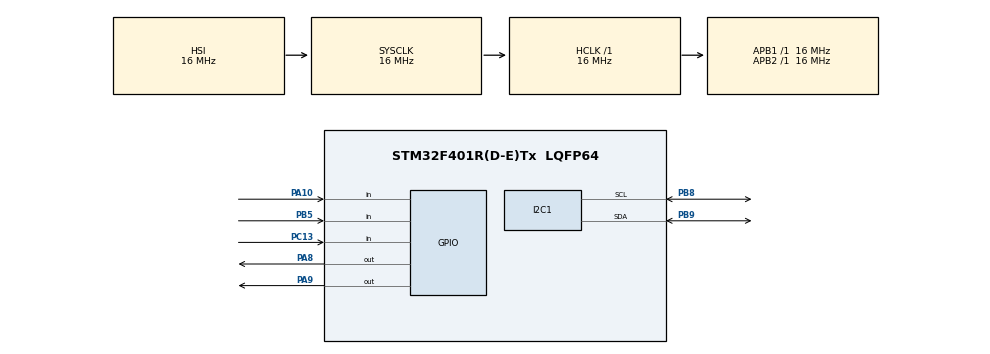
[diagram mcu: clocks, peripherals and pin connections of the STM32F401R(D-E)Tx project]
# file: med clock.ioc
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Mcu.Family=STM32F4
Mcu.Name=STM32F401R(D-E)Tx
Mcu.Package=LQFP64
NVIC.PriorityGroup=NVIC_PRIORITYGROUP_4
PA10.Signal=GPIO_Input
PA13.Mode=Serial_Wire
PA13.Signal=SYS_JTMS-SWDIO
PA14.Mode=Serial_Wire
PA14.Signal=SYS_JTCK-SWCLK
PA8.Signal=GPIO_Output
PA9.Signal=GPIO_Output
PB5.Signal=GPIO_Input
PB8.Mode=I2C
PB8.Signal=I2C1_SCL
PB9.Mode=I2C
PB9.Signal=I2C1_SDA
PC13-ANTI_TAMP.Signal=GPIO_Input
PC14-OSC32_IN.Mode=LSE-External-Oscillator
PC14-OSC32_IN.Signal=RCC_OSC32_IN
PC15-OSC32_OUT.Mode=LSE-External-Oscillator
PC15-OSC32_OUT.Signal=RCC_OSC32_OUT
PH0\ -\ OSC_IN.Mode=HSE-External-Oscillator
PH0\ -\ OSC_IN.Signal=RCC_OSC_IN
PH1\ -\ OSC_OUT.Mode=HSE-External-Oscillator
PH1\ -\ OSC_OUT.Signal=RCC_OSC_OUT
ProjectManager.HeapSize=0x200
ProjectManager.StackSize=0x400
ProjectManager.TargetToolchain=STM32CubeIDE
RCC.AHBFreq_Value=16000000
RCC.APB1Freq_Value=16000000
RCC.APB1TimFreq_Value=16000000
RCC.APB2Freq_Value=16000000
RCC.APB2TimFreq_Value=16000000
RCC.CortexFreq_Value=16000000
RCC.HCLKFreq_Value=16000000
RCC.HSE_VALUE=25000000
RCC.HSI_VALUE=16000000
RCC.SYSCLKFreq_VALUE=16000000
RCC.VCOOutputFreq_Value=192000000
RTC.HourFormat=RTC_HOURFORMAT_24
VP_RTC_VS_RTC_Activate.Mode=RTC_Enabled
VP_RTC_VS_RTC_Calendar.Mode=RTC_Calendar
board=custom

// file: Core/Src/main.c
/* USER CODE BEGIN Header */
/**
  ******************************************************************************
  * @file           : main.c
  * @brief          : Main program body
  ******************************************************************************
  * @attention
  *
  * Copyright (c) 2023 STMicroelectronics.
  * All rights reserved.
  *
  * This software is licensed under terms that can be found in the LICENSE file
  * in the root directory of this software component.
  * If no LICENSE file comes with this software, it is provided AS-IS.
  *
  ******************************************************************************
  */
/* USER CODE END Header */
#include "main.h"

/* USER CODE BEGIN Includes */
#include "stm32f4xx_hal.h"
#include "liquidcrystal_i2c.h"
#include <stdbool.h>
/* USER CODE END Includes */

I2C_HandleTypeDef hi2c1;

RTC_HandleTypeDef hrtc;

void SystemClock_Config(void);
static void MX_GPIO_Init(void);
static void MX_I2C1_Init(void);
static void MX_RTC_Init(void);

/* USER CODE BEGIN 0 */

RTC_TimeTypeDef Time = {0};
void SetTime(uint8_t hours, uint8_t minutes);
void PlaySound(bool isHigh, bool isOn);
char TimeInChar[12] = {""};
bool SelectB;
bool SelectD;
bool SelectU;
/* USER CODE END 0 */

int main(void)
{

  /* MCU Configuration--------------------------------------------------------*/

  /* Reset of all peripherals, Initializes the Flash interface and the Systick. */
  HAL_Init();

  /* Configure the system clock */
  SystemClock_Config();

  /* Initialize all configured peripherals */
  MX_GPIO_Init();
  MX_I2C1_Init();
  MX_RTC_Init();
  /* USER CODE BEGIN 2 */
  RunSetUp();
  bool SelectB = false;
  bool SelectD = false;
  bool SelectU = false;
  /* USER CODE END 2 */

  /* Infinite loop */
  /* USER CODE BEGIN WHILE */
  while (1)
  {
	  RTC_DateTypeDef Date = {0};
	  if (HAL_RTC_GetTime(&hrtc, &Time, RTC_FORMAT_BIN) != HAL_OK)
	  {
	  	  Error_Handler();
	  }
	  if (HAL_RTC_GetDate(&hrtc, &Date, RTC_FORMAT_BIN) != HAL_OK)
	  {
	  	  Error_Handler();
	  }
	  sprintf(TimeInChar, "%02d:%02d", Time.Hours, Time.Minutes);
	  RunLoop();
	  HAL_Delay(167);
    /* USER CODE END WHILE */

  }
}

void SystemClock_Config(void)
{
  RCC_OscInitTypeDef RCC_OscInitStruct = {0};
  RCC_ClkInitTypeDef RCC_ClkInitStruct = {0};

  /** Configure the main internal regulator output voltage
  */
  __HAL_RCC_PWR_CLK_ENABLE();
  __HAL_PWR_VOLTAGESCALING_CONFIG(PWR_REGULATOR_VOLTAGE_SCALE2);

  /** Initializes the RCC Oscillators according to the specified parameters
  * in the RCC_OscInitTypeDef structure.
  */
  RCC_OscInitStruct.OscillatorType = RCC_OSCILLATORTYPE_HSI|RCC_OSCILLATORTYPE_LSI;
  RCC_OscInitStruct.HSIState = RCC_HSI_ON;
  RCC_OscInitStruct.HSICalibrationValue = RCC_HSICALIBRATION_DEFAULT;
  RCC_OscInitStruct.LSIState = RCC_LSI_ON;
  RCC_OscInitStruct.PLL.PLLState = RCC_PLL_NONE;
  if (HAL_RCC_OscConfig(&RCC_OscInitStruct) != HAL_OK)
  {
    Error_Handler();
  }

  /** Initializes the CPU, AHB and APB buses clocks
  */
  RCC_ClkInitStruct.ClockType = RCC_CLOCKTYPE_HCLK|RCC_CLOCKTYPE_SYSCLK
                              |RCC_CLOCKTYPE_PCLK1|RCC_CLOCKTYPE_PCLK2;
  RCC_ClkInitStruct.SYSCLKSource = RCC_SYSCLKSOURCE_HSI;
  RCC_ClkInitStruct.AHBCLKDivider = RCC_SYSCLK_DIV1;
  RCC_ClkInitStruct.APB1CLKDivider = RCC_HCLK_DIV1;
  RCC_ClkInitStruct.APB2CLKDivider = RCC_HCLK_DIV1;

  if (HAL_RCC_ClockConfig(&RCC_ClkInitStruct, FLASH_LATENCY_0) != HAL_OK)
  {
    Error_Handler();
  }
}

static void MX_I2C1_Init(void)
{

  hi2c1.Instance = I2C1;
  hi2c1.Init.ClockSpeed = 100000;
  hi2c1.Init.DutyCycle = I2C_DUTYCYCLE_2;
  hi2c1.Init.OwnAddress1 = 0;
  hi2c1.Init.AddressingMode = I2C_ADDRESSINGMODE_7BIT;
  hi2c1.Init.DualAddressMode = I2C_DUALADDRESS_DISABLE;
  hi2c1.Init.OwnAddress2 = 0;
  hi2c1.Init.GeneralCallMode = I2C_GENERALCALL_DISABLE;
  hi2c1.Init.NoStretchMode = I2C_NOSTRETCH_DISABLE;
  if (HAL_I2C_Init(&hi2c1) != HAL_OK)
  {
    Error_Handler();
  }

}

static void MX_RTC_Init(void)
{

  RTC_TimeTypeDef sTime = {0};
  RTC_DateTypeDef sDate = {0};

  /** Initialize RTC Only
  */
  hrtc.Instance = RTC;
  hrtc.Init.HourFormat = RTC_HOURFORMAT_24;
  hrtc.Init.AsynchPrediv = 127;
  hrtc.Init.SynchPrediv = 255;
  hrtc.Init.OutPut = RTC_OUTPUT_DISABLE;
  hrtc.Init.OutPutPolarity = RTC_OUTPUT_POLARITY_HIGH;
  hrtc.Init.OutPutType = RTC_OUTPUT_TYPE_OPENDRAIN;
  if (HAL_RTC_Init(&hrtc) != HAL_OK)
  {
    Error_Handler();
  }

  /** Initialize RTC and set the Time and Date
  */

  // Set all time to 0
  sTime.Hours = 0x0;
  sTime.Minutes = 0x0;
  sTime.Seconds = 0x0;
  sTime.DayLightSaving = RTC_DAYLIGHTSAVING_NONE;
  sTime.StoreOperation = RTC_STOREOPERATION_RESET;
  if (HAL_RTC_SetTime(&hrtc, &sTime, RTC_FORMAT_BCD) != HAL_OK)
  {
    Error_Handler();
  }

  // set up day and month
  sDate.WeekDay = RTC_WEEKDAY_MONDAY;
  sDate.Month = RTC_MONTH_JANUARY;
  sDate.Date = 0x1;
  sDate.Year = 0x0;

  if (HAL_RTC_SetDate(&hrtc, &sDate, RTC_FORMAT_BCD) != HAL_OK)
  {
    Error_Handler();
  }

}

static void MX_GPIO_Init(void)
{
  GPIO_InitTypeDef GPIO_InitStruct = {0};

  /* GPIO Ports Clock Enable */
  __HAL_RCC_GPIOC_CLK_ENABLE();
  __HAL_RCC_GPIOH_CLK_ENABLE();
  __HAL_RCC_GPIOA_CLK_ENABLE();
  __HAL_RCC_GPIOB_CLK_ENABLE();

  /*Configure GPIO pin Output Level */
  HAL_GPIO_WritePin(GPIOA, GPIO_PIN_8|GPIO_PIN_9, GPIO_PIN_RESET);

  /*Configure GPIO pin : PC13 */
  GPIO_InitStruct.Pin = GPIO_PIN_13;
  GPIO_InitStruct.Mode = GPIO_MODE_INPUT;
  GPIO_InitStruct.Pull = GPIO_NOPULL;
  HAL_GPIO_Init(GPIOC, &GPIO_InitStruct);

  /*Configure GPIO pins : PA8 PA9 */
  GPIO_InitStruct.Pin = GPIO_PIN_8|GPIO_PIN_9;
  GPIO_InitStruct.Mode = GPIO_MODE_OUTPUT_PP;
  GPIO_InitStruct.Pull = GPIO_NOPULL;
  GPIO_InitStruct.Speed = GPIO_SPEED_FREQ_LOW;
  HAL_GPIO_Init(GPIOA, &GPIO_InitStruct);

  /*Configure GPIO pin : PA10 */
  GPIO_InitStruct.Pin = GPIO_PIN_10;
  GPIO_InitStruct.Mode = GPIO_MODE_INPUT;
  GPIO_InitStruct.Pull = GPIO_NOPULL;
  HAL_GPIO_Init(GPIOA, &GPIO_InitStruct);

  /*Configure GPIO pin : PB5 */
  GPIO_InitStruct.Pin = GPIO_PIN_5;
  GPIO_InitStruct.Mode = GPIO_MODE_INPUT;
  GPIO_InitStruct.Pull = GPIO_NOPULL;
  HAL_GPIO_Init(GPIOB, &GPIO_InitStruct);

}

/* USER CODE BEGIN 4 */

/**
 * Converts an integer to its hexadecimal representation.
 *
 * @param num The integer to be converted.
 * @return The hexadecimal representation of the input integer.
 */
uint8_t IntToHex(uint8_t num){
	int b = num;

	if (b <= 9) return b;

	int hexd = b - (b/16)*6;

	int leftover = b - (b/16)*16 + 1;

	int zone = 10;
	if (leftover > 10) {
	    zone = 16;
	}
	int leftL = zone - (leftover);

	int dis = 0;
	if (leftover > 10) {
	    dis = b - hexd + (6 - leftL);
	}
	else {
	    dis = b - hexd - leftL;
	}

	int leftR = dis - (dis/10)*10;

	int amount6 = 0;
	if (dis%10 != 0) {
	    amount6 = (dis/10)*6;
	}
	else {
	    amount6 = (dis/10 - 1)*6;
	}
	if (zone == 10) {
	    amount6 += 6;
	}

	int amount10 = (dis/10)*10;

	return b + leftL + amount6 + amount10 + leftR;
}

void SetTime(uint8_t hours, uint8_t minutes) {
	  RTC_TimeTypeDef sTime = {0};
	  RTC_DateTypeDef sDate = {0};

	  sTime.Hours = IntToHex(hours);
	  sTime.Minutes = IntToHex(minutes);
	  sTime.Seconds = 0x0;
	  sTime.DayLightSaving = RTC_DAYLIGHTSAVING_NONE;
	  sTime.StoreOperation = RTC_STOREOPERATION_RESET;
	  if (HAL_RTC_SetTime(&hrtc, &sTime, RTC_FORMAT_BCD) != HAL_OK)
	  {
	    Error_Handler();
	  }
	  sDate.WeekDay = RTC_WEEKDAY_MONDAY;
	  sDate.Month = RTC_MONTH_JANUARY;
	  sDate.Date = 0x1;
	  sDate.Year = 0x0;

	  if (HAL_RTC_SetDate(&hrtc, &sDate, RTC_FORMAT_BCD) != HAL_OK)
	  {
	    Error_Handler();
	  }
}

/**
 * Checks if the select button is pressed.
 *
 * @return true if the select button is pressed
 */
bool SelectPressed() {
	if (HAL_GPIO_ReadPin(GPIOC, GPIO_PIN_13) && SelectB) {
		SelectB = false;
		return true;
	}
	else if (HAL_GPIO_ReadPin(GPIOC, GPIO_PIN_13) == GPIO_PIN_RESET) {
		SelectB = true;
	}
	return false;
}

/**
 * Checks if the down button is pressed.
 *
 * @return true if the down button is pressed
 */
bool DownPressed() {
	if (HAL_GPIO_ReadPin(GPIOB, GPIO_PIN_5) && SelectD) {
			SelectD = false;
			return true;
	}
	else if (HAL_GPIO_ReadPin(GPIOB, GPIO_PIN_5) == GPIO_PIN_RESET) {
			SelectD = true;
	}
	return false;
}

/**
 * Checks if the up Up is pressed.
 *
 * @return true if the up up is pressed
 */
bool UpPressed() {
	if (HAL_GPIO_ReadPin(GPIOA, GPIO_PIN_10) && SelectU) {
			SelectU = false;
			return true;
	}
	else if (HAL_GPIO_ReadPin(GPIOA, GPIO_PIN_10) == GPIO_PIN_RESET) {
			SelectU = true;
	}
	return false;
}

/**
 * Plays a sound by toggling GPIO pins.
 *
 *
 * @param isHigh Boolean indicating whether both speakers should play (true) or just one (false).
 * @param isOn Boolean indicating whether the sound should be turned on (true) or off (false).
 */
void PlaySound(bool isHigh, bool isOn) {
	if (isOn) {
		//D8
		HAL_GPIO_TogglePin(GPIOA, GPIO_PIN_9);
		if (isHigh) {
			//D7
			HAL_GPIO_WritePin(GPIOA, GPIO_PIN_8, GPIO_PIN_SET);
		}
	}
	else {
		HAL_GPIO_WritePin(GPIOA, GPIO_PIN_9, GPIO_PIN_RESET);
		HAL_GPIO_WritePin(GPIOA, GPIO_PIN_8, GPIO_PIN_RESET);
	}
}

/* USER CODE END 4 */

void Error_Handler(void)
{
  __disable_irq();
  while (1)
  {
  }
}
